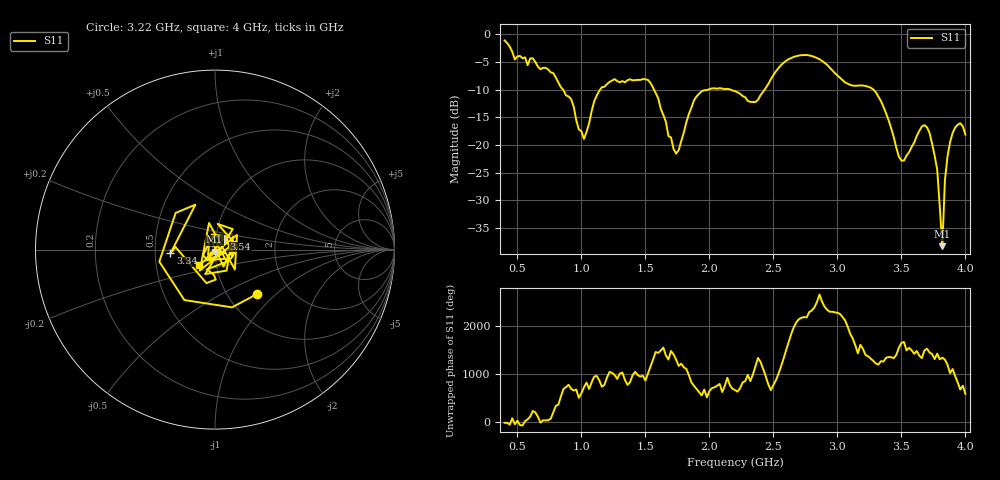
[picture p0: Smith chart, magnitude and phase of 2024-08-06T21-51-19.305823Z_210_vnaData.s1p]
!Created with skrf (http://scikit-rf.org).
# Hz S RI R 50.0
!freq ReS11 ImS11
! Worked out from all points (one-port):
!   181 points, 400 MHz to 4 GHz, reference 50 ohm
!   lowest |S11| = -38.3 dB at 3.82 GHz (marker M1), VSWR 1.02, Z = 49.7 - j1.18 ohm
!   |S11| at or under -10 dB: 856 MHz to 1.147 GHz (290.7 MHz wide, 29 % of centre); 1.567 GHz to 1.992 GHz (424.8 MHz wide, 23.9 % of centre); 3.281 GHz to end of sweep (the widest 3 of 4)
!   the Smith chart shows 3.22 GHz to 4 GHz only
!   S11 on the Smith chart (normalised r, x): 3.22 GHz: 1.37, -0.76; 3.34 GHz: 0.60, -0.03; 3.54 GHz: 1.10, +0.14; 4 GHz: 0.83, -0.15
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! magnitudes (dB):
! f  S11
! 400 MHz  -1.1
! 480 MHz  -4.6
! 620 MHz  -4.3
! 860 MHz  -10.1
! 1.02 GHz  -18.9
! 1.14 GHz  -10.2
! 1.3 GHz  -8.7
! 1.52 GHz  -8.3
! 1.72 GHz  -20.7
! 1.76 GHz  -21.0
! 1.92 GHz  -10.7
! 2.2 GHz  -10.3
! 2.36 GHz  -12.2
! 2.66 GHz  -4.1
! 3.1 GHz  -9.2
! 3.22 GHz  -9.4
! 3.34 GHz  -12.1
! 3.48 GHz  -22.1
! 3.54 GHz  -22.0
! 3.56 GHz  -21.3
! 3.66 GHz  -16.7
! 3.72 GHz  -17.8
! 3.78 GHz  -24.5
! 3.82 GHz  -38.3
! 3.84 GHz  -26.4
! 3.88 GHz  -19.5
! 3.96 GHz  -16.1
! 4 GHz  -18.2
